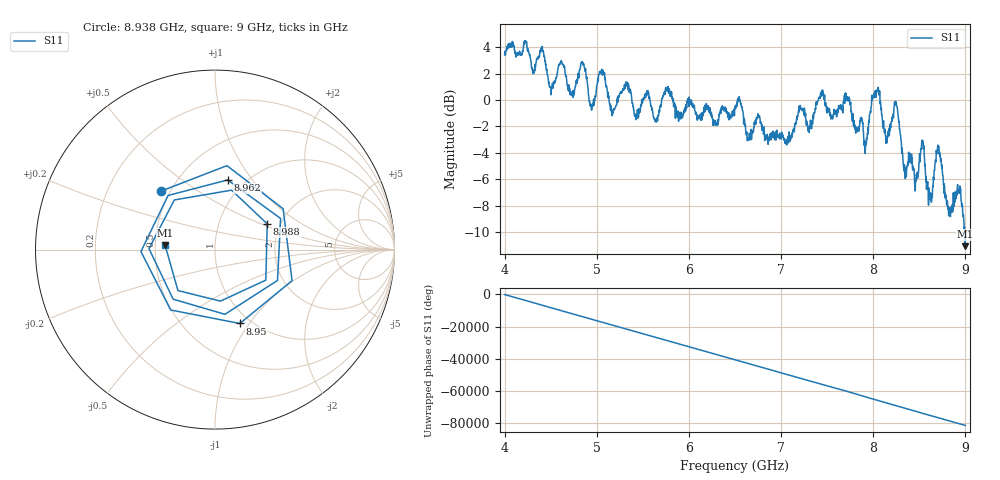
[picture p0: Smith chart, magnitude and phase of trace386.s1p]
! Created with skrf 1.8.0 (http://scikit-rf.org).
# Hz S RI R 50.0
!freq ReS11 ImS11
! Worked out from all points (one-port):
!   1601 points, 4 GHz to 9 GHz, reference 50 ohm
!   lowest |S11| = -11.1 dB at 9 GHz (marker M1), VSWR 1.77, Z = 28.2 + j1.51 ohm
!   |S11| at or under -10 dB: 8.99197 GHz to end of sweep
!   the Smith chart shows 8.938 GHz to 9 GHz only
!   S11 on the Smith chart (normalised r, x): 8.938 GHz: 0.44, +0.36; 8.95 GHz: 0.89, -0.90; 8.962 GHz: 0.83, +0.77; 8.988 GHz: 1.71, +0.55; 9 GHz: 0.56, +0.03
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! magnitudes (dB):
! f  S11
! 4 GHz  3.4
! 4.406 GHz  3.9
! 4.506 GHz  0.8
! 4.625 GHz  2.7
! 4.734 GHz  0.4
! 4.853 GHz  2.7
! 4.944 GHz  -0.8
! 5.047 GHz  2.1
! 5.25 GHz  0.5
! 5.875 GHz  -1.3
! 6.5 GHz  -0.5
! 7.125 GHz  -2.5
! 7.434 GHz  0.5
! 7.75 GHz  -0.2
! 7.916 GHz  -3.6
! 8.031 GHz  0.5
! 8.141 GHz  -2.8
! 8.247 GHz  -0.4
! 8.375 GHz  -5.0
! 8.538 GHz  -3.2
! 8.619 GHz  -7.5
! 8.709 GHz  -3.5
! 8.819 GHz  -8.8
! 8.938 GHz  -7.0
! 8.95 GHz  -7.2
! 8.962 GHz  -8.1
! 8.988 GHz  -9.8
! 9 GHz  -11.1
